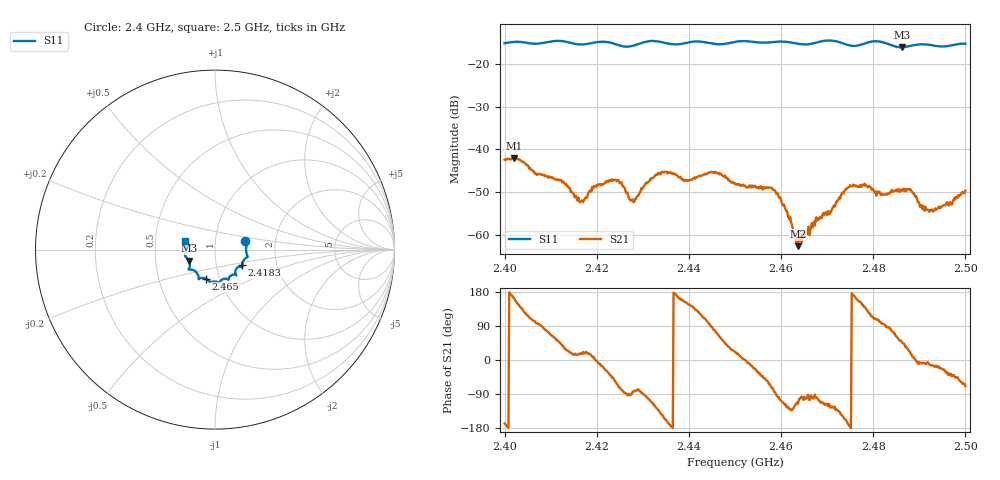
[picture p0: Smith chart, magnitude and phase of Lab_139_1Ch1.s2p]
# Hz S RI R 50
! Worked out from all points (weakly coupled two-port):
!   601 points, 2.4 GHz to 2.5 GHz, reference 50 ohm
!   highest |S21| = -42.03 dB at 2.402 GHz (marker M1); lowest = -62.7 dB at 2.4637 GHz (marker M2)
!   lowest |S11| = -16.1 dB at 2.4863 GHz (marker M3), VSWR 1.37, Z = 37.1 - j4.68 ohm
!   |S11| at or under -10 dB: start of sweep to end of sweep
!   S12 and S22 are empty: the file has one direction only
!   S11 on the Smith chart (normalised r, x): 2.4 GHz: 1.40, +0.14; 2.4183 GHz: 1.33, -0.24; 2.465 GHz: 0.86, -0.29; 2.5 GHz: 0.71, +0.07
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2.4e9  0.1687 0.0468  -0.00737 -0.00166  0 0  0 0
2.402e9  0.1774 0.0374  -0.00757 0.00232  0 0  0 0
2.4125e9  0.1808 -0.0418  0.00318 0.00256  0 0  0 0
2.416667e9  0.1548 -0.0684  0.00238 0.000738  0 0  0 0
2.418333e9  0.1502 -0.0871  0.00305 0.000931  0 0  0 0
2.424167e9  0.1412 -0.0946  0.00226 -0.00376  0 0  0 0
2.428e9  0.1139 -0.1184  0.000273 -0.00238  0 0  0 0
2.433333e9  0.1176 -0.1413  -0.00355 -0.00389  0 0  0 0
2.4395e9  0.0767 -0.1599  -0.00372 0.0021  0 0  0 0
2.445333e9  0.0594 -0.162  0.00092 0.00532  0 0  0 0
2.45e9  0.0262 -0.1801  0.00373 0.00144  0 0  0 0
2.458333e9  -0.0194 -0.18  0.00066 -0.00326  0 0  0 0
2.460833e9  -0.0289 -0.1801  -0.000983 -0.00179  0 0  0 0
2.463667e9  -0.0399 -0.1682  -0.000314 -0.000659  0 0  0 0
2.465e9  -0.0523 -0.1615  -0.00014 -0.00111  0 0  0 0
2.466667e9  -0.0712 -0.1577  -0.000235 -0.00134  0 0  0 0
2.475167e9  -0.1025 -0.1281  -0.00368 -2.19e-05  0 0  0 0
2.483333e9  -0.1411 -0.0966  0.00014 0.00307  0 0  0 0
2.486333e9  -0.1446 -0.0615  0.00236 0.00239  0 0  0 0
2.488e9  -0.1563 -0.0465  0.0032 0.0012  0 0  0 0
2.4925e9  -0.165 -0.0249  0.00188 -0.000446  0 0  0 0
2.5e9  -0.1667 0.0468  0.00118 -0.00305  0 0  0 0
